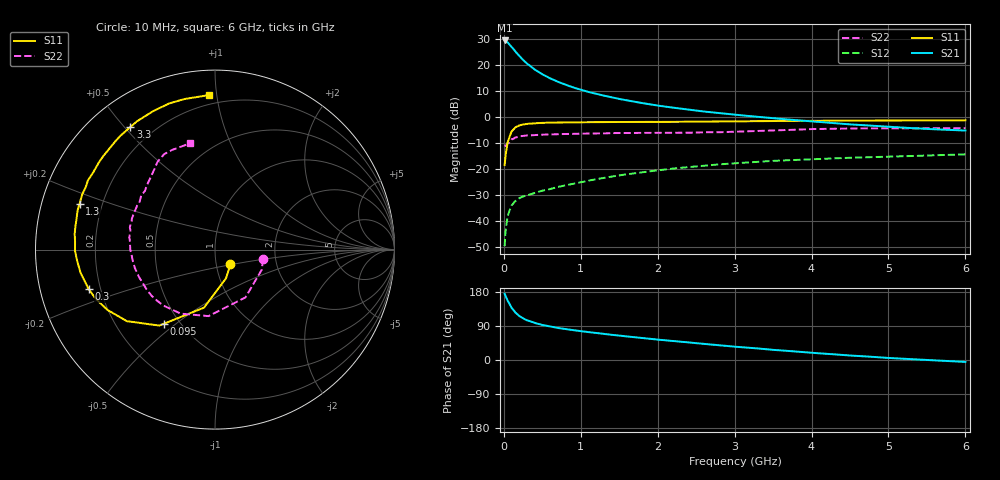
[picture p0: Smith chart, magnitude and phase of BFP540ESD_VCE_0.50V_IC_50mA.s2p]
! Infineon Technologies  Discrete & RF Semiconductors
! BFP540ESD
! VCE = 0.50 V,  IC =  50 mA
! Common Emitter S-Parameters:  Nov 2015
# GHz  S  MA  R  50
!  f  S11  S21  S12  S22
! GHz  MAG  ANG  MAG  ANG  MAG  ANG  MAG  ANG
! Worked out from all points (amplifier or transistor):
!   210 points, 10 MHz to 6 GHz, reference 50 ohm
!   highest |S21| = 29.4 dB at 10 MHz (marker M1)
!   |S21| within 3 dB of that: start of sweep to 116.4 MHz
!   unconditionally stable (mu >= 1): start of sweep to 78.61 MHz; 610.5 MHz to end of sweep
!   at 185 MHz: K = 0.71, MSG = 27.7 dB, |S12| = -31.5 dB
!   at 1.52 GHz: K = 1.24, MAG = 11.6 dB, |S12| = -22.3 dB
!   at 6 GHz: K = 1.33, MAG = 1.1 dB, |S12| = -14.3 dB
!   S11 on the Smith chart (normalised r, x): 10 MHz: 1.17, -0.20; 95 MHz: 0.41, -0.45; 300 MHz: 0.15, -0.15; 1.3 GHz: 0.12, +0.16; 3.3 GHz: 0.12, +0.52; 6 GHz: 0.14, +0.95
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0.01  0.1194 -43.9  29.48 175.0  0.0033 53.8  0.2729 -11.1
0.02  0.1718 -69.2  28.95 170.1  0.0057 63.9  0.2836 -23.4
0.05  0.3295 -100.8  27.03 156.3  0.0124 62.6  0.316 -57.5
0.095  0.502 -124.6  22.74 139.8  0.0191 53.2  0.3605 -92.5
0.1  0.5245 -126.2  22.4 137.6  0.0199 52.6  0.3723 -95.6
0.15  0.6324 -140.9  18.04 125.0  0.0244 47.3  0.4046 -118.1
0.2  0.6863 -150.6  14.86 116.2  0.0275 42.8  0.4246 -132.9
0.24  0.7114 -156.1  12.88 111.3  0.0293 41.7  0.4333 -140.6
0.26  0.7219 -158.5  12.04 108.9  0.0301 41.6  0.437 -144.0
0.3  0.7374 -162.6  10.62 104.9  0.0312 42.1  0.4409 -149.9
0.4  0.7599 -170.1  8.166 97.7  0.0346 42.0  0.4501 -160.1
0.5  0.7708 -175.4  6.599 92.4  0.0384 42.7  0.4582 -167.1
0.6  0.7799 -179.5  5.53 88.5  0.0412 44.3  0.4628 -172.2
0.8  0.7867 173.6  4.154 81.6  0.0485 46.9  0.4719 -179.9
1.02  0.7899 167.8  3.271 75.6  0.0567 47.7  0.4774 173.8
1.3  0.7962 161.4  2.57 68.7  0.0674 47.8  0.4831 167.2
2.02  0.8038 147.1  1.639 53.5  0.095 43.7  0.4952 154.3
3.1  0.8256 128.0  1.071 33.7  0.1317 33.3  0.5256 135.5
3.3  0.8297 124.6  1.005 30.5  0.1376 31.0  0.5363 132.4
4.1  0.8458 112.7  0.8 17.6  0.1563 22.0  0.5882 122.1
5.1  0.8555 100.6  0.636 4.4  0.1743 12.7  0.604 112.1
6  0.8619 92.1  0.548 -5.1  0.1917 5.6  0.609 103.2
